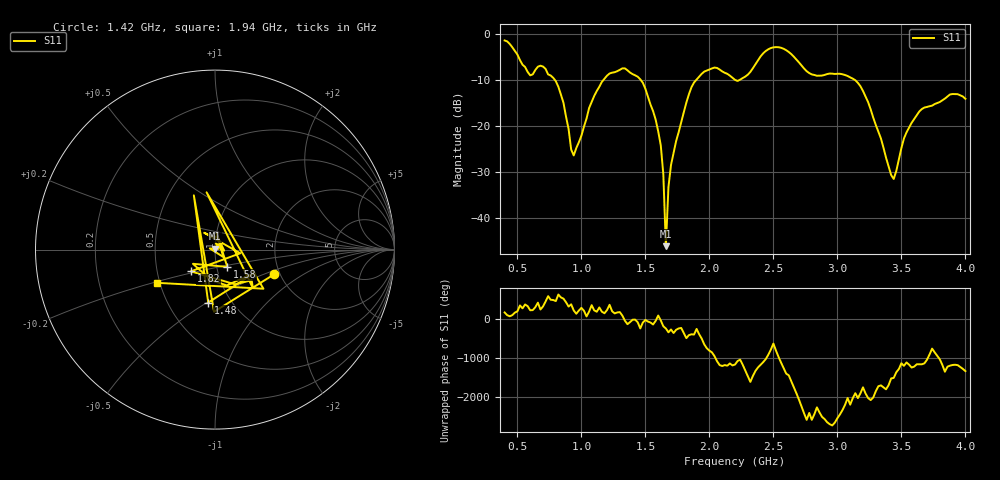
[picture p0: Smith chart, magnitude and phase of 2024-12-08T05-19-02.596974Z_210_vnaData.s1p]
!Created with skrf (http://scikit-rf.org).
# Hz S RI R 50.0
!freq ReS11 ImS11
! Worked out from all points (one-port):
!   181 points, 400 MHz to 4 GHz, reference 50 ohm
!   lowest |S11| = -46.1 dB at 1.66 GHz (marker M1), VSWR 1.01, Z = 49.8 + j0.464 ohm
!   |S11| at or under -10 dB: 795 MHz to 1.17 GHz (374.5 MHz wide, 38.1 % of centre); 1.466 GHz to 1.895 GHz (428.7 MHz wide, 25.5 % of centre); 3.141 GHz to end of sweep (the widest 3 of 4)
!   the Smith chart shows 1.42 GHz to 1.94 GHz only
!   S11 on the Smith chart (normalised r, x): 1.42 GHz: 1.87, -0.59; 1.48 GHz: 0.78, -0.51; 1.58 GHz: 1.12, -0.22; 1.82 GHz: 0.74, -0.19; 1.94 GHz: 0.48, -0.21
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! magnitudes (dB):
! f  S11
! 400 MHz  -1.3
! 600 MHz  -8.9
! 720 MHz  -7.5
! 860 MHz  -14.9
! 940 MHz  -26.3
! 1.12 GHz  -12.3
! 1.3 GHz  -7.7
! 1.42 GHz  -8.9
! 1.48 GHz  -10.5
! 1.58 GHz  -18.5
! 1.62 GHz  -24.1
! 1.64 GHz  -30.4
! 1.66 GHz  -46.1
! 1.68 GHz  -33.2
! 1.76 GHz  -21.3
! 1.82 GHz  -14.8
! 1.94 GHz  -8.6
! 2.06 GHz  -7.3
! 2.2 GHz  -9.9
! 2.48 GHz  -3.0
! 2.66 GHz  -4.9
! 2.8 GHz  -8.7
! 3.1 GHz  -9.4
! 3.24 GHz  -14.7
! 3.44 GHz  -31.5
! 3.56 GHz  -20.3
! 3.88 GHz  -13.1
! 4 GHz  -14.0
